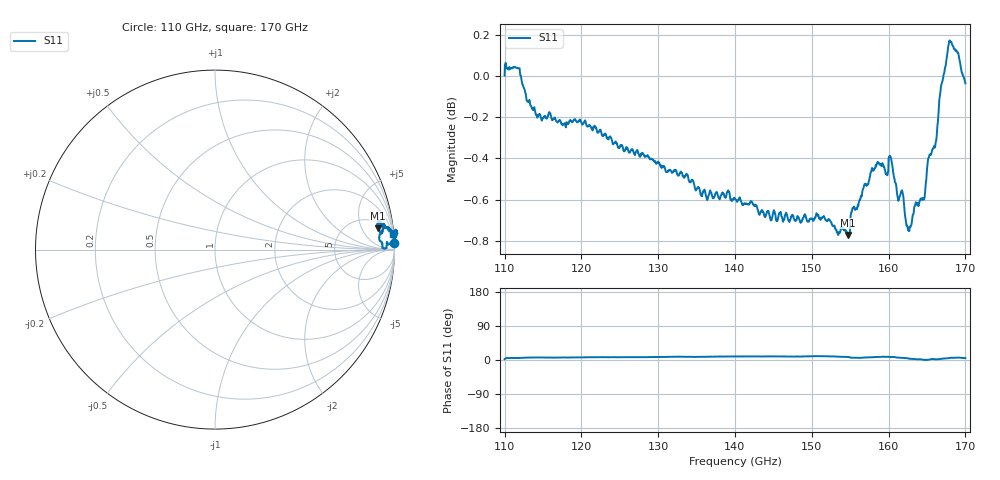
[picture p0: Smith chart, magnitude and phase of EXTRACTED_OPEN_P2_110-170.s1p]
! Generated by Phase I extraction
# Hz S RI R 50
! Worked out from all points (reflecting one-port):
!   1471 points, 110 GHz to 170 GHz, reference 50 ohm
!   lowest |S11| = -0.8 dB at 154.7 GHz (marker M1), VSWR 22.49, Z = 358 + j522 ohm
!   phase of S11 starts at 2 deg and turns +3 deg over the sweep
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1.1e11  0.9996 0.0357
1.104898e11  0.9997 0.0917
1.117143e11  1 0.0898
1.133878e11  0.9774 0.1108
1.175102e11  0.9666 0.1124
1.250204e11  0.9532 0.1236
1.325306e11  0.9355 0.1417
1.354286e11  0.9284 0.132
1.4e11  0.9213 0.1522
1.475102e11  0.9133 0.1445
1.510612e11  0.9084 0.163
1.528571e11  0.9072 0.1509
1.547347e11  0.9071 0.1189
1.550204e11  0.9175 0.1007
1.562449e11  0.9289 0.0898
1.593061e11  0.9401 0.1442
1.606122e11  0.9371 0.1356
1.612245e11  0.9279 0.1017
1.620408e11  0.9247 0.0892
1.625306e11  0.9152 0.0712
1.629796e11  0.9191 0.0466
1.648571e11  0.9422 0.00813
1.656735e11  0.9586 0.0436
1.66449e11  0.9757 0.0321
1.676735e11  1.01 0.0783
1.682449e11  1.013 0.1037
1.691837e11  1.004 0.1094
1.7e11  0.9923 0.0857
